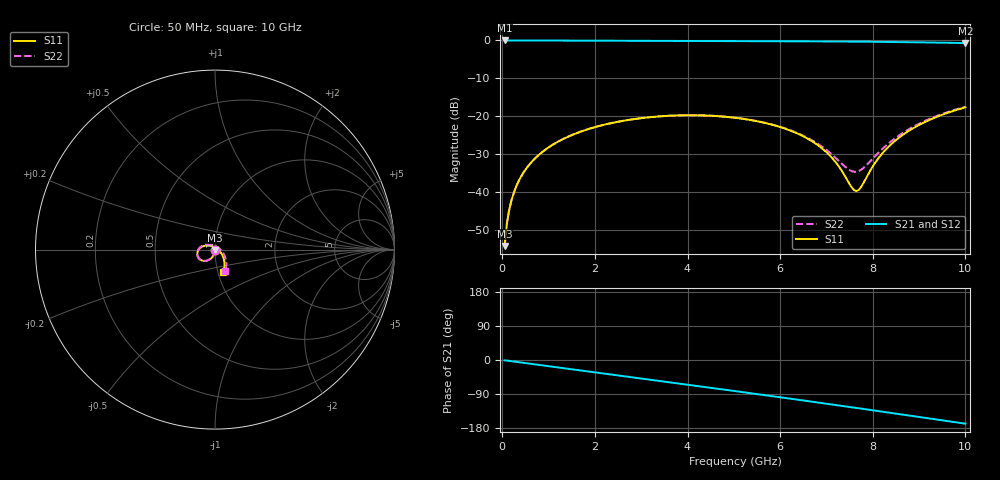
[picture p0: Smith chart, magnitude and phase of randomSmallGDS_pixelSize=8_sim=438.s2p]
! freq	dB(S11)	phase(S11)	dB(S12)	phase(S12)
!  dB(S21)	phase(S21)	dB(S22)	phase(S22)
!S-par simulation data
#  GHz  S  DB  R 50
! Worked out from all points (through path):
!   200 points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, 50 MHz to 10 GHz, reference 50 ohm
!   highest |S21| = 0.00 dB at 50 MHz (marker M1); lowest = -0.7 dB at 10 GHz (marker M2)
!   group delay of S21, straight-line fit = 46.5 ps
!   lowest |S11| = -54.2 dB at 50 MHz (marker M3), VSWR 1.00, Z = 50 - j0.196 ohm
!   |S11| at or under -10 dB: start of sweep to end of sweep
!   |S22| runs from -54.2 to -17.5 dB; largest |S21 - S12| = 0
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0.05  -54.15 -90.5  -0.00 -0.8  -0.00 -0.8  -54.17 -90.6
0.1  -48.11 -91.9  -0.00 -1.6  -0.00 -1.6  -48.12 -92.1
0.15  -44.56 -93.0  -0.00 -2.5  -0.00 -2.5  -44.56 -93.2
0.2  -42.03 -94.0  -0.00 -3.3  -0.00 -3.3  -42.03 -94.1
0.35  -37.13 -96.5  -0.01 -5.8  -0.01 -5.8  -37.13 -96.7
0.5  -34.03 -99.0  -0.01 -8.2  -0.01 -8.2  -34.03 -99.1
0.7  -31.15 -102.3  -0.02 -11.5  -0.02 -11.5  -31.15 -102.4
1  -28.16 -107.2  -0.02 -16.4  -0.02 -16.4  -28.16 -107.4
1.75  -23.77 -119.6  -0.05 -28.5  -0.05 -28.5  -23.77 -120.0
2.5  -21.40 -131.9  -0.08 -40.7  -0.08 -40.7  -21.40 -132.6
3.4  -19.99 -146.8  -0.11 -55.3  -0.11 -55.3  -19.98 -147.8
5.05  -20.39 -175.1  -0.16 -82.4  -0.16 -82.4  -20.38 -177.4
6  -22.80 166.8  -0.20 -98.3  -0.20 -98.3  -22.73 162.6
6.7  -26.63 150.2  -0.24 -110.2  -0.24 -110.2  -26.37 142.4
7.15  -31.34 132.8  -0.27 -117.9  -0.27 -117.9  -30.40 119.4
7.5  -37.83 95.3  -0.30 -124.0  -0.30 -124.0  -34.14 80.0
7.65  -39.65 55.1  -0.31 -126.6  -0.31 -126.6  -34.57 53.8
7.75  -38.54 26.6  -0.32 -128.4  -0.32 -128.4  -34.04 36.5
8.1  -31.38 -18.4  -0.36 -134.5  -0.36 -134.5  -29.85 -3.8
8.35  -27.87 -30.6  -0.39 -138.9  -0.39 -138.9  -27.03 -18.9
9.05  -21.94 -50.3  -0.50 -151.2  -0.50 -151.2  -21.63 -42.9
10  -17.63 -69.7  -0.69 -168.1  -0.69 -168.1  -17.46 -64.4
